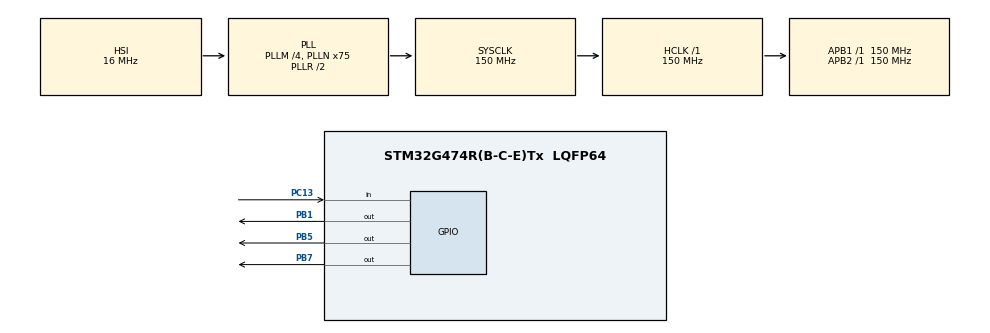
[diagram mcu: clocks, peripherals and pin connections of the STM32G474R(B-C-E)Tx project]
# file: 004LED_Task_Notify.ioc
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Mcu.Family=STM32G4
Mcu.Name=STM32G474R(B-C-E)Tx
Mcu.Package=LQFP64
NVIC.PriorityGroup=NVIC_PRIORITYGROUP_4
NVIC.TIM6_DAC_IRQn=true\:15\:0\:false\:false\:true\:false\:true\:true
NVIC.TimeBase=TIM6_DAC_IRQn
NVIC.TimeBaseIP=TIM6
PB1.Signal=GPIO_Output
PB5.Signal=GPIO_Output
PB7.Signal=GPIO_Output
PC13.GPIO_PuPd=GPIO_PULLUP
PC13.Signal=GPIO_Input
ProjectManager.HeapSize=0x200
ProjectManager.StackSize=0x400
ProjectManager.TargetToolchain=STM32CubeIDE
RCC.ADC12Freq_Value=150000000
RCC.ADC345Freq_Value=150000000
RCC.AHBFreq_Value=150000000
RCC.APB1Freq_Value=150000000
RCC.APB1TimFreq_Value=150000000
RCC.APB2Freq_Value=150000000
RCC.APB2TimFreq_Value=150000000
RCC.CortexFreq_Value=150000000
RCC.EXTERNAL_CLOCK_VALUE=12288000
RCC.HCLKFreq_Value=150000000
RCC.HSE_VALUE=8000000
RCC.HSI48_VALUE=48000000
RCC.HSI_VALUE=16000000
RCC.LSE_VALUE=32768
RCC.PLLM=RCC_PLLM_DIV4
RCC.PLLN=75
RCC.SYSCLKFreq_VALUE=150000000
RCC.SYSCLKSource=RCC_SYSCLKSOURCE_PLLCLK
RCC.USBFreq_Value=150000000
RCC.VCOOutputFreq_Value=300000000
VP_SYS_VS_tim6.Mode=TIM6
board=custom

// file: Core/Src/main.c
/* USER CODE BEGIN Header */
/**
  ******************************************************************************
  * @file           : main.c
  * @brief          : Main program body
  ******************************************************************************
  * @attention
  *
  * Copyright (c) 2023 STMicroelectronics.
  * All rights reserved.
  *
  * This software is licensed under terms that can be found in the LICENSE file
  * in the root directory of this software component.
  * If no LICENSE file comes with this software, it is provided AS-IS.
  *
  ******************************************************************************
  */
/* USER CODE END Header */
#include "main.h"

/* USER CODE BEGIN Includes */
#include <FreeRTOS.h>
#include <task.h>
/* USER CODE END Includes */

/* USER CODE BEGIN PD */
#define Button 					GPIO_PIN_13
#define Button_Port				GPIOC
#define Red_Led					GPIO_PIN_5
#define Red_Led_Port			GPIOB
#define Orange_Led				GPIO_PIN_1
#define Orange_Led_Port			GPIOB
#define Green_Led				GPIO_PIN_7
#define Green_Led_Port			GPIOB
/* USER CODE END PD */

/* USER CODE BEGIN PV */
#define DWT_CTRL	(*(volatile uint32_t*)0xE0001000)		// DWT_CTRL register
/* USER CODE END PV */

void SystemClock_Config(void);
static void MX_GPIO_Init(void);
/* USER CODE BEGIN PFP */
static void red_led_handler(void*);
static void orange_led_handler(void*);
static void green_led_handler(void*);
static void button_handler(void*);

extern void SEGGER_UART_init(uint32_t);
/* USER CODE END PFP */

/* USER CODE BEGIN 0 */
TaskHandle_t red_led_handle;
TaskHandle_t orange_led_handle;
TaskHandle_t green_led_handle;
TaskHandle_t button_handle;

TaskHandle_t volatile next_task_handle = NULL;				// needed when we are going to delete tasks
/* USER CODE END 0 */

int main(void)
{
  /* USER CODE BEGIN 1 */
  BaseType_t status;
  /* USER CODE END 1 */

  /* MCU Configuration--------------------------------------------------------*/

  /* Reset of all peripherals, Initializes the Flash interface and the Systick. */
  HAL_Init();

  /* Configure the system clock */
  SystemClock_Config();

  /* Initialize all configured peripherals */
  MX_GPIO_Init();
  /* USER CODE BEGIN 2 */

  // SEGGER UART recording
  SEGGER_UART_init(500000);

  // Enable the CYCCNT register by setting the 0th bit
  // This is to allow the SEGGER systemview to record time stamps of events
  DWT_CTRL |= (1<<0);

  // Configure and start the SEGGER systemview recording
  SEGGER_SYSVIEW_Conf();
  //SEGGER_SYSVIEW_Start();

  // creating tasks
  status = xTaskCreate(red_led_handler, "Red Led Task", 200, NULL, 1, &red_led_handle);
  configASSERT(status == pdPASS);

  status = xTaskCreate(orange_led_handler, "Orange Led Task", 200, NULL, 2, &orange_led_handle);
  configASSERT(status == pdPASS);

  status = xTaskCreate(green_led_handler, "Green Led Task", 200, NULL, 3, &green_led_handle);
  configASSERT(status == pdPASS);

  status = xTaskCreate(button_handler, "Button Task", 200, NULL, 4, &button_handle);
  configASSERT(status == pdPASS);

  next_task_handle = green_led_handle;

  // Start the FreeRTOS scheduler
  vTaskStartScheduler();
  /* USER CODE END 2 */

  /* Infinite loop */
  while (1)
  {

  }
}

void SystemClock_Config(void)
{
  RCC_OscInitTypeDef RCC_OscInitStruct = {0};
  RCC_ClkInitTypeDef RCC_ClkInitStruct = {0};

  /** Configure the main internal regulator output voltage
  */
  HAL_PWREx_ControlVoltageScaling(PWR_REGULATOR_VOLTAGE_SCALE1);

  /** Initializes the RCC Oscillators according to the specified parameters
  * in the RCC_OscInitTypeDef structure.
  */
  RCC_OscInitStruct.OscillatorType = RCC_OSCILLATORTYPE_HSI;
  RCC_OscInitStruct.HSIState = RCC_HSI_ON;
  RCC_OscInitStruct.HSICalibrationValue = RCC_HSICALIBRATION_DEFAULT;
  RCC_OscInitStruct.PLL.PLLState = RCC_PLL_ON;
  RCC_OscInitStruct.PLL.PLLSource = RCC_PLLSOURCE_HSI;
  RCC_OscInitStruct.PLL.PLLM = RCC_PLLM_DIV4;
  RCC_OscInitStruct.PLL.PLLN = 75;
  RCC_OscInitStruct.PLL.PLLP = RCC_PLLP_DIV2;
  RCC_OscInitStruct.PLL.PLLQ = RCC_PLLQ_DIV2;
  RCC_OscInitStruct.PLL.PLLR = RCC_PLLR_DIV2;
  if (HAL_RCC_OscConfig(&RCC_OscInitStruct) != HAL_OK)
  {
    Error_Handler();
  }

  /** Initializes the CPU, AHB and APB buses clocks
  */
  RCC_ClkInitStruct.ClockType = RCC_CLOCKTYPE_HCLK|RCC_CLOCKTYPE_SYSCLK
                              |RCC_CLOCKTYPE_PCLK1|RCC_CLOCKTYPE_PCLK2;
  RCC_ClkInitStruct.SYSCLKSource = RCC_SYSCLKSOURCE_PLLCLK;
  RCC_ClkInitStruct.AHBCLKDivider = RCC_SYSCLK_DIV1;
  RCC_ClkInitStruct.APB1CLKDivider = RCC_HCLK_DIV1;
  RCC_ClkInitStruct.APB2CLKDivider = RCC_HCLK_DIV1;

  if (HAL_RCC_ClockConfig(&RCC_ClkInitStruct, FLASH_LATENCY_4) != HAL_OK)
  {
    Error_Handler();
  }
}

static void MX_GPIO_Init(void)
{
  GPIO_InitTypeDef GPIO_InitStruct = {0};

  /* GPIO Ports Clock Enable */
  __HAL_RCC_GPIOC_CLK_ENABLE();
  __HAL_RCC_GPIOB_CLK_ENABLE();

  /*Configure GPIO pin Output Level */
  HAL_GPIO_WritePin(GPIOB, GPIO_PIN_1|GPIO_PIN_5|GPIO_PIN_7, GPIO_PIN_RESET);

  /*Configure GPIO pin : PC13 */
  GPIO_InitStruct.Pin = GPIO_PIN_13;
  GPIO_InitStruct.Mode = GPIO_MODE_INPUT;
  GPIO_InitStruct.Pull = GPIO_PULLUP;
  HAL_GPIO_Init(GPIOC, &GPIO_InitStruct);

  /*Configure GPIO pins : PB1 PB5 PB7 */
  GPIO_InitStruct.Pin = GPIO_PIN_1|GPIO_PIN_5|GPIO_PIN_7;
  GPIO_InitStruct.Mode = GPIO_MODE_OUTPUT_PP;
  GPIO_InitStruct.Pull = GPIO_NOPULL;
  GPIO_InitStruct.Speed = GPIO_SPEED_FREQ_LOW;
  HAL_GPIO_Init(GPIOB, &GPIO_InitStruct);

}

void HAL_TIM_PeriodElapsedCallback(TIM_HandleTypeDef *htim)
{
  if (htim->Instance == TIM6) {
    HAL_IncTick();
  }
}

void Error_Handler(void)
{
  __disable_irq();
  while (1)
  {
  }
}

static void red_led_handler(void* parameters)
{
	BaseType_t status;
	while(1)
	{
		SEGGER_SYSVIEW_PrintfTarget("Toggling Red LED!");
		HAL_GPIO_TogglePin(Red_Led_Port, Red_Led);
		status = xTaskNotifyWait(0,0,NULL,pdMS_TO_TICKS(400));
		if(status == pdTRUE)
		{
			// We suspend the scheduler during the shared variable change
			// This is to ensure it doesn't fail because of pre-emption or such
			vTaskSuspendAll();
			next_task_handle = NULL;
			xTaskResumeAll();
			HAL_GPIO_WritePin(Red_Led_Port,Red_Led,GPIO_PIN_SET);
			SEGGER_SYSVIEW_PrintfTarget("Deleting Red LED task!");
			vTaskDelete(NULL);
			vTaskDelete(button_handle);
		}
	}
}

static void orange_led_handler(void* parameters)
{
	BaseType_t status;
	while(1)
	{
		SEGGER_SYSVIEW_PrintfTarget("Toggling Orange LED!");
		HAL_GPIO_TogglePin(Orange_Led_Port, Orange_Led);
		status = xTaskNotifyWait(0,0,NULL,pdMS_TO_TICKS(800));
		if(status == pdTRUE)
		{
			// We suspend the scheduler during the shared variable change
			// This is to ensure it doesn't fail because of pre-emption or such
			vTaskSuspendAll();
			next_task_handle = red_led_handle;
			xTaskResumeAll();
			HAL_GPIO_WritePin(Orange_Led_Port,Orange_Led,GPIO_PIN_SET);
			SEGGER_SYSVIEW_PrintfTarget("Deleting Orange LED task!");
			vTaskDelete(NULL);
		}
	}
}

static void green_led_handler(void* parameters)
{
	BaseType_t status;
	while(1)
	{
		SEGGER_SYSVIEW_PrintfTarget("Toggling Green LED!");
		HAL_GPIO_TogglePin(Green_Led_Port, Green_Led);
		status = xTaskNotifyWait(0,0,NULL,pdMS_TO_TICKS(1000));
		if(status == pdTRUE)
		{
			// We suspend the scheduler during the shared variable change
			// This is to ensure it doesn't fail because of pre-emption or such
			vTaskSuspendAll();
			next_task_handle = orange_led_handle;
			xTaskResumeAll();
			HAL_GPIO_WritePin(Green_Led_Port,Green_Led,GPIO_PIN_SET);
			SEGGER_SYSVIEW_PrintfTarget("Deleting Green LED task!");
			vTaskDelete(NULL);
		}
	}
}

static void button_handler(void* parameters)
{
	uint8_t current_button_value = 0;
	uint8_t previous_button_value = 0;

	while(1)
	{
		// In the board we are using, the Button pin (PC13) is normally pulled up
		// When the button is pressed, it gets pulled down
		// So the read pin function should render 0 if the button is pressed
		current_button_value = HAL_GPIO_ReadPin(Button_Port, Button);

		if(!current_button_value && (previous_button_value))
		{
			xTaskNotify(next_task_handle,0,eNoAction);
		}
		previous_button_value = current_button_value;
		vTaskDelay(pdMS_TO_TICKS(10));
	}
}
